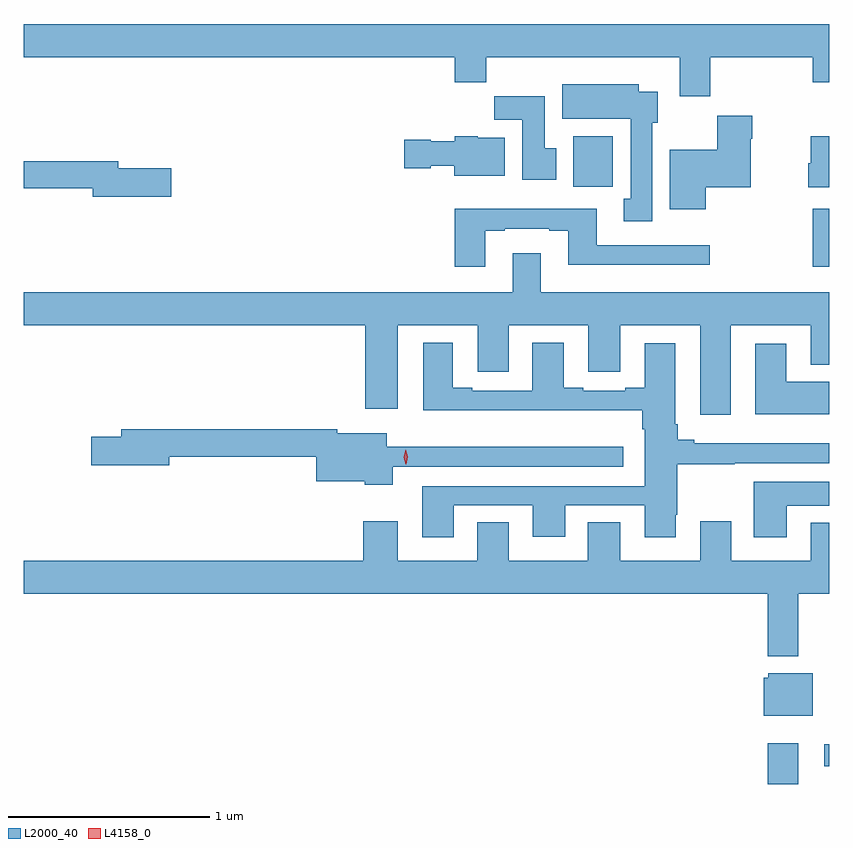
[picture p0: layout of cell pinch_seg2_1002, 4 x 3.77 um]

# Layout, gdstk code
import gdstk
lib = gdstk.Library(unit=1e-6, precision=1e-09)
def R(c, l, rs):  # rectangles x0, y0, x1, y1
    for r in rs: c.add(gdstk.rectangle(r[:2], r[2:], *l))
def P(c, l, *ps):  # polygons
    for p in ps: c.add(gdstk.Polygon(p, *l))
L2000_40 = (2000, 40)
L4158_0 = (4158, 0)

pinch_seg2_1002 = lib.new_cell('pinch_seg2_1002')
R(pinch_seg2_1002, L2000_40, [(375.377,621.384,375.529,621.586), (375.657,621.471,375.683,621.581), (375.599,623.952,375.683,624.238), (374.411,624.348,374.607,624.598)])
P(pinch_seg2_1002, L2000_40, [(375.092,624.992),(375.599,624.992),(375.599,624.868),(375.683,624.868),(375.683,625.156),(371.683,625.156),(371.683,624.992),(373.823,624.992),(373.823,624.868),(373.979,624.868),(373.979,624.992),(374.939,624.992),(374.939,624.798),(375.092,624.798)],
  [(374.803,624.666),(374.83,624.666),(374.83,624.82),(374.737,624.82),(374.737,624.856),(374.357,624.856),(374.357,624.686),(374.696,624.686),(374.696,624.289),(374.663,624.289),(374.663,624.177),(374.803,624.177)],
  [(374.326,624.54),(374.269,624.54),(374.269,624.798),(374.02,624.798),(374.02,624.68),(374.159,624.68),(374.159,624.384),(374.326,624.384)],
  [(375.07,624.347),(375.292,624.347),(375.292,624.587),(375.3,624.587),(375.3,624.7),(375.127,624.7),(375.127,624.532),(374.891,624.532),(374.891,624.236),(375.07,624.236)],
  [(374.071,624.592),(373.938,624.592),(373.938,624.598),(373.824,624.598),(373.824,624.574),(373.704,624.574),(373.704,624.582),(373.572,624.582),(373.572,624.44),(373.704,624.44),(373.704,624.452),(373.82,624.452),(373.82,624.404),(374.071,624.404)],
  [(375.683,624.598),(375.589,624.598),(375.589,624.465),(375.578,624.465),(375.578,624.347),(375.683,624.347)],
  [(372.415,624.44),(372.154,624.44),(372.154,624.476),(371.683,624.476),(371.683,624.34),(372.026,624.34),(372.026,624.298),(372.415,624.298)],
  [(373.975,624.129),(374.071,624.129),(374.071,624.141),(374.291,624.141),(374.291,624.129),(374.387,624.129),(374.387,623.96),(375.088,623.96),(375.088,624.057),(374.527,624.057),(374.527,624.238),(373.823,624.238),(373.823,623.952),(373.975,623.952)],
  [(375.193,623.66),(375.59,623.66),(375.59,623.466),(375.683,623.466),(375.683,623.824),(374.251,623.824),(374.251,624.019),(374.111,624.019),(374.111,623.824),(371.683,623.824),(371.683,623.66),(373.379,623.66),(373.379,623.247),(373.54,623.247),(373.54,623.66),(373.937,623.66),(373.937,623.43),(374.092,623.43),(374.092,623.66),(374.486,623.66),(374.486,623.43),(374.644,623.43),(374.644,623.66),(375.041,623.66),(375.041,623.217),(375.193,623.217)],
  [(373.819,622.767),(374.21,622.767),(374.21,622.611),(374.371,622.611),(374.371,622.767),(374.765,622.767),(374.765,622.608),(374.92,622.608),(374.92,622.72),(374.928,622.72),(374.928,622.972),(375.212,622.972),(375.212,622.977),(375.683,622.977),(375.683,623.074),(375.013,623.074),(375.013,623.093),(374.93,623.093),(374.93,623.17),(374.917,623.17),(374.917,623.572),(374.765,623.572),(374.765,623.35),(374.669,623.35),(374.669,623.337),(374.461,623.337),(374.461,623.35),(374.365,623.35),(374.365,623.575),(374.207,623.575),(374.207,623.337),(373.909,623.337),(373.909,623.35),(373.813,623.35),(373.813,623.575),(373.667,623.575),(373.667,623.24),(374.753,623.24),(374.753,623.144),(374.765,623.144),(374.765,622.863),(373.661,622.863),(373.661,622.608),(373.819,622.608)],
  [(375.683,623.38),(375.469,623.38),(375.469,623.569),(375.314,623.569),(375.314,623.219),(375.683,623.219)],
  [(373.516,622.959),(374.659,622.959),(374.659,623.057),(373.486,623.057),(373.486,623.125),(373.24,623.125),(373.24,623.144),(372.167,623.144),(372.167,623.108),(372.018,623.108),(372.018,622.966),(372.406,622.966),(372.406,623.008),(373.136,623.008),(373.136,622.886),(373.377,622.886),(373.377,622.868),(373.516,622.868)],
  [(375.472,622.766),(375.683,622.766),(375.683,622.885),(375.308,622.885),(375.308,622.608),(375.472,622.608)],
  [(375.529,622.328),(375.683,622.328),(375.683,622.681),(375.59,622.681),(375.59,622.492),(375.196,622.492),(375.196,622.687),(375.041,622.687),(375.041,622.492),(374.644,622.492),(374.644,622.682),(374.483,622.682),(374.483,622.492),(374.092,622.492),(374.092,622.682),(373.934,622.682),(373.934,622.492),(373.54,622.492),(373.54,622.687),(373.37,622.687),(373.37,622.492),(371.683,622.492),(371.683,622.328),(375.377,622.328),(375.377,622.019),(375.529,622.019)],
  [(375.601,621.934),(375.378,621.934),(375.378,621.912),(375.356,621.912),(375.356,621.722),(375.601,621.722)])
P(pinch_seg2_1002, L4158_0, [(373.581,622.971),(373.57,623.006),(373.579,623.042),(373.579,623.042),(373.579,623.042),(373.59,623.007),(373.582,622.971),(373.582,622.971)])

lib.write_gds('pinch_seg2_1002.gds')
